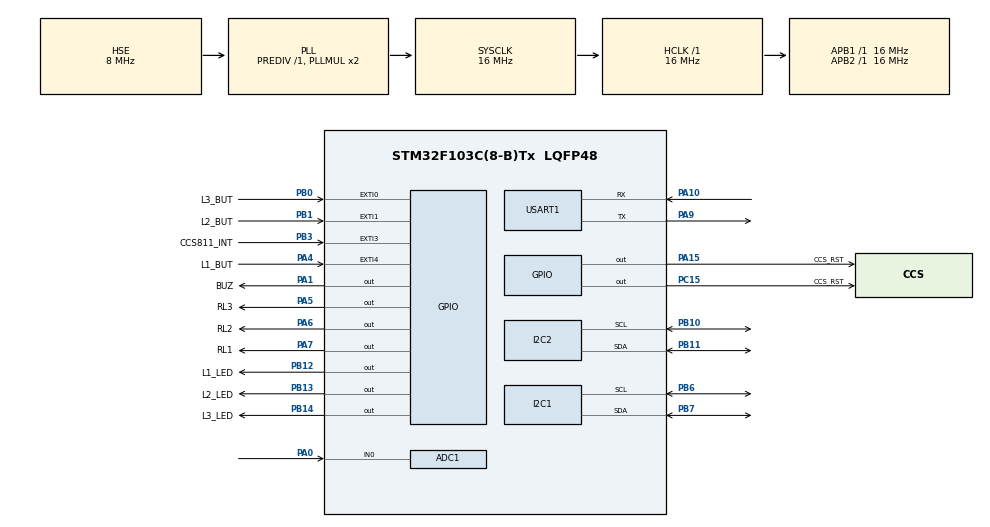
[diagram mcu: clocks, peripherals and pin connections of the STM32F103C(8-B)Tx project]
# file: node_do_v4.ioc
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ADC1.Channel-0\#ChannelRegularConversion=ADC_CHANNEL_0
ADC1.NbrOfConversionFlag=1
ADC1.Rank-0\#ChannelRegularConversion=1
ADC1.SamplingTime-0\#ChannelRegularConversion=ADC_SAMPLETIME_239CYCLES_5
ADC1.master=1
Mcu.Family=STM32F1
Mcu.Name=STM32F103C(8-B)Tx
Mcu.Package=LQFP48
NVIC.ADC1_2_IRQn=true\:5\:0\:true\:false\:true\:true\:true\:true
NVIC.EXTI0_IRQn=true\:2\:0\:true\:false\:true\:true\:true\:true
NVIC.EXTI1_IRQn=true\:2\:0\:true\:false\:true\:true\:true\:true
NVIC.EXTI3_IRQn=true\:3\:0\:true\:false\:true\:true\:true\:true
NVIC.EXTI4_IRQn=true\:2\:0\:true\:false\:true\:true\:true\:true
NVIC.PriorityGroup=NVIC_PRIORITYGROUP_4
NVIC.TIM2_IRQn=true\:4\:0\:true\:false\:true\:true\:true\:true
NVIC.TIM3_IRQn=true\:6\:0\:true\:false\:true\:true\:true\:true
NVIC.USART1_IRQn=true\:0\:0\:true\:false\:true\:true\:true\:true
PA0-WKUP.Signal=ADCx_IN0
PA1.GPIO_Label=BUZ
PA1.PinState=GPIO_PIN_RESET
PA1.Signal=GPIO_Output
PA10.Mode=Asynchronous
PA10.Signal=USART1_RX
PA13.Mode=Serial_Wire
PA13.Signal=SYS_JTMS-SWDIO
PA14.Mode=Serial_Wire
PA14.Signal=SYS_JTCK-SWCLK
PA15.GPIO_Label=CCS_RST
PA15.GPIO_PuPd=GPIO_PULLUP
PA15.PinState=GPIO_PIN_SET
PA15.Signal=GPIO_Output
PA4.GPIO_Label=L1_BUT
PA4.GPIO_ModeDefaultEXTI=GPIO_MODE_IT_FALLING
PA4.GPIO_PuPd=GPIO_PULLUP
PA4.Signal=GPXTI4
PA5.GPIO_Label=RL3
PA5.Signal=GPIO_Output
PA6.GPIO_Label=RL2
PA6.Signal=GPIO_Output
PA7.GPIO_Label=RL1
PA7.Signal=GPIO_Output
PA9.Mode=Asynchronous
PA9.Signal=USART1_TX
PB0.GPIO_Label=L3_BUT
PB0.GPIO_ModeDefaultEXTI=GPIO_MODE_IT_FALLING
PB0.GPIO_PuPd=GPIO_PULLUP
PB0.Signal=GPXTI0
PB1.GPIO_Label=L2_BUT
PB1.GPIO_ModeDefaultEXTI=GPIO_MODE_IT_FALLING
PB1.GPIO_PuPd=GPIO_PULLUP
PB1.Signal=GPXTI1
PB10.Mode=I2C
PB10.Signal=I2C2_SCL
PB11.Mode=I2C
PB11.Signal=I2C2_SDA
PB12.GPIO_Label=L1_LED
PB12.GPIO_PuPd=GPIO_PULLUP
PB12.PinState=GPIO_PIN_SET
PB12.Signal=GPIO_Output
PB13.GPIO_Label=L2_LED
PB13.GPIO_PuPd=GPIO_PULLUP
PB13.PinState=GPIO_PIN_SET
PB13.Signal=GPIO_Output
PB14.GPIO_Label=L3_LED
PB14.GPIO_PuPd=GPIO_PULLUP
PB14.PinState=GPIO_PIN_SET
PB14.Signal=GPIO_Output
PB3.GPIO_Label=CCS811_INT
PB3.GPIO_ModeDefaultEXTI=GPIO_MODE_IT_FALLING
PB3.GPIO_PuPd=GPIO_NOPULL
PB3.Signal=GPXTI3
PB6.Mode=I2C
PB6.Signal=I2C1_SCL
PB7.Mode=I2C
PB7.Signal=I2C1_SDA
PC15-OSC32_OUT.GPIO_Label=CCS_RST
PC15-OSC32_OUT.PinState=GPIO_PIN_SET
PC15-OSC32_OUT.Signal=GPIO_Output
PD0-OSC_IN.Mode=HSE-External-Oscillator
PD0-OSC_IN.Signal=RCC_OSC_IN
PD1-OSC_OUT.Mode=HSE-External-Oscillator
PD1-OSC_OUT.Signal=RCC_OSC_OUT
ProjectManager.HeapSize=0x200
ProjectManager.StackSize=0x400
ProjectManager.TargetToolchain=STM32CubeIDE
RCC.AHBFreq_Value=16000000
RCC.APB1Freq_Value=16000000
RCC.APB1TimFreq_Value=16000000
RCC.APB2Freq_Value=16000000
RCC.APB2TimFreq_Value=16000000
RCC.HCLKFreq_Value=16000000
RCC.PLLSourceVirtual=RCC_PLLSOURCE_HSE
RCC.RTCClockSelection=RCC_RTCCLKSOURCE_HSE_DIV128
RCC.SYSCLKFreq_VALUE=16000000
RCC.SYSCLKSource=RCC_SYSCLKSOURCE_PLLCLK
RCC.USBFreq_Value=16000000
RTC.Hours=12
RTC.Minutes=50
SH.ADCx_IN0.0=ADC1_IN0,IN0
TIM2.Period=6000
TIM2.Prescaler=16000-1
TIM3.Period=60000
TIM3.Prescaler=16000-1
USART1.VirtualMode=VM_ASYNC
VP_RTC_VS_RTC_Activate.Mode=RTC_Enabled
VP_RTC_VS_RTC_Calendar.Mode=RTC_Calendar
VP_TIM2_VS_ClockSourceINT.Mode=Internal
VP_TIM3_VS_ClockSourceINT.Mode=Internal
board=custom

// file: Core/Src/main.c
/* USER CODE BEGIN Header */
/**
  ******************************************************************************
  * @file           : main.c
  * @brief          : Main program body
  ******************************************************************************
  * @attention
  *
  * Copyright (c) 2024 STMicroelectronics.
  * All rights reserved.
  *
  * This software is licensed under terms that can be found in the LICENSE file
  * in the root directory of this software component.
  * If no LICENSE file comes with this software, it is provided AS-IS.
  *
  ******************************************************************************
  */
/* USER CODE END Header */
#include "main.h"

/* USER CODE BEGIN Includes */
#include "math.h"
#include "i2c-lcd.h"
#include "warning.h"
#include <stdio.h>
#include "ccs811.h"
#include <stdlib.h>
#include <string.h>
#include "rs_related_node_do.h"
/* USER CODE END Includes */

/* USER CODE BEGIN PM */
#define T3 6000
#define T2 3000
#define T1 1000
/* USER CODE END PM */

ADC_HandleTypeDef hadc1;

I2C_HandleTypeDef hi2c1;
I2C_HandleTypeDef hi2c2;

RTC_HandleTypeDef hrtc;

TIM_HandleTypeDef htim2;
TIM_HandleTypeDef htim3;

UART_HandleTypeDef huart1;

void SystemClock_Config(void);
static void MX_GPIO_Init(void);
static void MX_ADC1_Init(void);
static void MX_I2C1_Init(void);
static void MX_I2C2_Init(void);
static void MX_TIM2_Init(void);
static void MX_USART1_UART_Init(void);
static void MX_RTC_Init(void);
static void MX_TIM3_Init(void);

/* USER CODE BEGIN 0 */
uint8_t RS_rxBuffer[20];
uint8_t RS_rx[20];
uint8_t RS_txBuffer[30];
uint8_t rs_temp[2];
uint8_t rs_inx=0;

uint8_t ppm_data[20];
uint8_t myID = 0x01;  // �?ịa chỉ Slave (duy nhất)
//uint8_t myID = 0x02;  // �?ịa chỉ Slave (duy nhất)

uint8_t l1_state=0;
uint8_t l2_state=0;
uint8_t l3_state=0;
uint8_t at_state=1;
uint8_t co2_flag=0;
uint16_t eCO2 = 0;
uint16_t CO2_ppm;
uint32_t CO_adc_val;

float CO_vol;
uint16_t CO_ppm;
char CO_ppm_buf[6];
char CO2_ppm_buf[6];

uint8_t miss_inx=0;
uint8_t send_inx=0;

uint8_t connect_error_flag=0;
uint8_t connect_miss_flag=0;
uint8_t save_ok = 0;
char string_data[100][20];
char data_saved[100][30]; // Mảng con tr�? để lưu chuỗi
uint8_t lrc;

RTC_TimeTypeDef gTime;

void set_time (uint8_t hr, uint8_t min, uint8_t sec)
{
	RTC_TimeTypeDef sTime = {0};

	sTime.Hours = hr;
	sTime.Minutes = min;
	sTime.Seconds = sec;
	if (HAL_RTC_SetTime(&hrtc, &sTime, RTC_FORMAT_BIN) != HAL_OK)
	{
		Error_Handler();
	}
	HAL_RTCEx_BKUPWrite(&hrtc, RTC_BKP_DR1, 0x2345);  // backup register
}

void get_time()
{
    HAL_RTC_GetTime(&hrtc, &gTime, RTC_FORMAT_BIN);
}

int CO_ppm_convert(float CO_vol) {
    float a = ((5.0 - CO_vol) / CO_vol) * (10/5);
    return (int)round(100 * pow(a, -1.559));
}

void Change_Timer_Period(TIM_HandleTypeDef *htim)
{
if (CO2_ppm <= 1000 && CO_ppm <= 25)
   {
       HAL_TIM_Base_Stop_IT(htim);                  // Dừng timer
       __HAL_TIM_SET_AUTORELOAD(htim, T3);          // Cập nhật chu kỳ
       HAL_TIM_Base_Start_IT(htim);                 // Khởi động lại timer
   }
   else if (CO2_ppm >= 2000 || CO_ppm >= 50)
   {
       HAL_TIM_Base_Stop_IT(htim);                  // Dừng timer
       __HAL_TIM_SET_AUTORELOAD(htim, T1);          // Cập nhật chu kỳ
       HAL_TIM_Base_Start_IT(htim);                 // Khởi động lại timer
   }
   else
   {
       HAL_TIM_Base_Stop_IT(htim);                  // Dừng timer
       __HAL_TIM_SET_AUTORELOAD(htim, T2);          // Cập nhật chu kỳ
       HAL_TIM_Base_Start_IT(htim);                 // Khởi động lại timer
   }
}
void HAL_TIM_PeriodElapsedCallback(TIM_HandleTypeDef *htim)
{
    if (htim->Instance == TIM2)  // Kiểm tra nếu ngắt từ Timer 2
    {
    	HAL_ADC_Start_IT(&hadc1);
    }
    else if (htim->Instance == TIM3)  // Kiểm tra nếu ngắt từ Timer 3
    {
    	Change_Timer_Period(&htim3);
    	connect_error_flag++;
    	save_ok=0;
   	 if(connect_error_flag>=2 && save_ok==0)
   	 {
   		miss_inx=connect_error_flag-2;
   		get_time();
   		hexdec_to_ascii(gTime.Hours,&data_saved[miss_inx][5]);
		hexdec_to_ascii(gTime.Minutes,&data_saved[miss_inx][7]);
		hexdec_to_ascii(gTime.Seconds,&data_saved[miss_inx][9]);
		hexdec_to_ascii((uint8_t)(CO_ppm>>8),&data_saved[miss_inx][11]);
		hexdec_to_ascii((uint8_t)(CO_ppm),&data_saved[miss_inx][13]);
		hexdec_to_ascii((uint8_t)(CO2_ppm>>8),&data_saved[miss_inx][15]);
		hexdec_to_ascii((uint8_t)(CO2_ppm),&data_saved[miss_inx][17]);
   		save_ok=1;
   	 }
    }
}

void HAL_ADC_ConvCpltCallback(ADC_HandleTypeDef* hadc)
{
	if(hadc -> Instance == ADC1)
    CO_adc_val = HAL_ADC_GetValue(&hadc1);
	CO_vol = ((float)CO_adc_val / 4095.0) * 5;
	CO_ppm = (uint16_t)(CO_ppm_convert(CO_vol));
	sprintf(CO_ppm_buf, "%d",(int) CO_ppm);
	// Xóa vị trí hiện tại trên LCD trước khi ghi chuỗi mới
	lcd_put_cur(1, 4);
	lcd_send_string("    ");  // Ghi đè 4f khoảng trắng tại vị trí đó

	lcd_put_cur(1, 4);
	lcd_send_string (CO_ppm_buf);
	if(CO_ppm > 9999)
	{
	   lcd_put_cur(1, 8);
	   lcd_send_string("        ");  // Ghi đè 8 khoảng trắng tại vị trí đó
	   lcd_put_cur(1, 8);
	   lcd_send_string ("ppm|AUTO");
	}
	// đo và hiển thị LCD cho CO2
	CCS811_Read_Co2(&eCO2);
    CO2_ppm = (eCO2);
	sprintf(CO2_ppm_buf, "%d",(int) CO2_ppm);
	// Xóa vị trí hiện tại trên LCD trước khi ghi chuỗi mới
	lcd_put_cur(0, 4);
	lcd_send_string("    ");  // Ghi đè 4 khoảng trắng tại vị trí đó
	// ghi vào vị trí này
	lcd_put_cur(0, 4);
	lcd_send_string (CO2_ppm_buf);

	if(CO2_ppm > 9999)
	{
	   lcd_put_cur(0, 8);
	   lcd_send_string("        ");
	   lcd_put_cur(0, 8);
	   lcd_send_string ("ppm|MODE");
	}
	if(at_state==1)
	{
		Auto_Warning();
	}
	Change_Timer_Period(&htim2);
}
void HAL_GPIO_EXTI_Callback(uint16_t GPIO_Pin) {
	UNUSED(GPIO_Pin);
     if (GPIO_Pin == L1_BUT_Pin)
    {
        while(HAL_GPIO_ReadPin(L1_BUT_GPIO_Port,L1_BUT_Pin)==0)
           {};
     l1_state = 1;
     l2_state = 0;
     l3_state = 0;
     at_state = 0;
	lcd_put_cur(1, 12);
	lcd_send_string ("HAND");
    }
    else if (GPIO_Pin == L2_BUT_Pin)
    {
      while(HAL_GPIO_ReadPin(L2_BUT_GPIO_Port,L2_BUT_Pin)==0)
        {};
     l1_state = 0;
     l2_state = 1;
     l3_state = 0;
     at_state = 0;
	lcd_put_cur(1, 12);
	lcd_send_string ("HAND");
    }

    else if (GPIO_Pin == L3_BUT_Pin)
    {
     while(HAL_GPIO_ReadPin(L3_BUT_GPIO_Port,L3_BUT_Pin)==0)
        {};
     l1_state = 0;
     l2_state = 0;
     l3_state = 1;
     at_state = 0;
	lcd_put_cur(1, 12);
	lcd_send_string ("HAND");
    }
}
void HAL_UART_RxCpltCallback(UART_HandleTypeDef *huart) {
    if (huart->Instance == USART1) {
    	// nhận chuỗi từ : đến \n
	if(rs_temp[0] != '\n')
	{
		if(rs_temp[0]==':')
		{
			RS_rxBuffer[0]=rs_temp[0];
			rs_inx=1;
		}
		else
		{
			RS_rxBuffer[rs_inx++]=rs_temp[0];
		}
	}
	else
	{
		RS_rxBuffer[rs_inx++]='\n';
    	if(check_lrc(&RS_rxBuffer[1],4,(char*)&RS_rxBuffer[5]) == 1) // check loi lrc
    	{
    		//if (RS_rxBuffer[1] == '0' && RS_rxBuffer[2] == '2') // Kiểm tra địa chỉ node 2
			if (RS_rxBuffer[1] == '0' && RS_rxBuffer[2] == '1') // Kiểm tra địa chỉ
			{
				if (RS_rxBuffer[3] == '0' && RS_rxBuffer[4] == '2')
				{
					get_time();
					// Gửi phản hồi
					RS485_data_to_send();
					HAL_UART_Transmit(&huart1, RS_txBuffer, 25, HAL_MAX_DELAY);
				}
				else if(RS_rxBuffer[3] == '0' && RS_rxBuffer[4] == '3')
				{
					 if( miss_inx!=0)
					 {
						 while(send_inx<miss_inx)
						 {
							RS_txBuffer[0] = ':';
							hexdec_to_ascii(myID,(char*)&RS_txBuffer[1]);
							RS_txBuffer[3] = '0';
							RS_txBuffer[4] = '3';
							strcpy((char*)&RS_txBuffer[5], &data_saved[send_inx][5]);
							lrc = calculate_lrc(&RS_txBuffer[1],18);
							hexdec_to_ascii(lrc,(char*)&RS_txBuffer[19]);
							RS_txBuffer[21]=0x0D ;
							RS_txBuffer[22]=0x0A ;
							 HAL_UART_Transmit(&huart1, RS_txBuffer, 25, HAL_MAX_DELAY);
							 HAL_UART_Receive(&huart1 ,RS_rx, 10, HAL_MAX_DELAY);
							 if( RS_rx[4] == 'B')
							 {
								 HAL_TIM_Base_Stop_IT(&htim3);
								 send_inx++;
							 }
						 }
						 if(send_inx==miss_inx)
						 {
							RS_txBuffer[0] = ':';
							hexdec_to_ascii(myID,(char*)&RS_txBuffer[1]);
							RS_txBuffer[3] = '0';
							RS_txBuffer[4] = '2';
							strcpy((char*)&RS_txBuffer[5], &data_saved[send_inx][5]);
							lrc = calculate_lrc(&RS_txBuffer[1],18);
							hexdec_to_ascii(lrc,(char*)&RS_txBuffer[19]);
							RS_txBuffer[21]=0x0D ;
							RS_txBuffer[22]=0x0A ;
							 HAL_UART_Transmit(&huart1, RS_txBuffer, 25, HAL_MAX_DELAY);
						 }
					 }
				}
				else if(RS_rxBuffer[3] == 'A' && RS_rxBuffer[4] == 'A') // nhận lại oke
				{
					memset(data_saved, 0, sizeof(data_saved));
					HAL_TIM_Base_Start_IT(&htim3);
					send_inx=0;
					connect_error_flag=0;
				}
			}
    	}
    	else
    	{}

        // nhận bản tin v�? th�?i gian
         if(RS_rxBuffer[2] == 0x77)
        {
        	int h,m,s;
        	char ho[3] = {0};
        	char mi[3] = {0};
        	char se[3] = {0};

        	strncpy(ho, (char*)&RS_rxBuffer[3], 2);
        	strncpy(mi, (char*)&RS_rxBuffer[5], 2);
        	strncpy(se, (char*)&RS_rxBuffer[7], 2);

        	h= atoi(ho);
        	m=atoi(mi);
        	s=atoi(se);
        	set_time((uint8_t)h,(uint8_t) m ,(uint8_t)s);
        }
 		rs_inx=0;
 		memset(RS_rxBuffer,0,sizeof(RS_rxBuffer));
 	  }
        // Tiếp tục nhận
        HAL_UART_Receive_IT(&huart1, rs_temp, 1);
    }
}

/* USER CODE END 0 */

int main(void)
{

  /* MCU Configuration--------------------------------------------------------*/

  /* Reset of all peripherals, Initializes the Flash interface and the Systick. */
  HAL_Init();

  /* Configure the system clock */
  SystemClock_Config();

  /* Initialize all configured peripherals */
  MX_GPIO_Init();
  MX_ADC1_Init();
  MX_I2C1_Init();
  MX_I2C2_Init();
  MX_TIM2_Init();
  MX_USART1_UART_Init();
  MX_RTC_Init();
  MX_TIM3_Init();
  /* USER CODE BEGIN 2 */

  //while(!CCS811_CheckHW_ID());
  CCS811_Init();
  CCS811_Reset();
  CCS811_Set_Mode(CCS811_MODE_1SEC);
  CCS811_EnableInt();
  //uint16_t baseline = CCS811_GetBaseline();
  lcd_init();
  lcd_put_cur(0, 0);
  lcd_send_string ("CO2:");
  lcd_put_cur(0, 8);
  lcd_send_string ("ppm|");
  lcd_put_cur(0, 12);
  lcd_send_string ("MODE");
  lcd_put_cur(1, 0);
  lcd_send_string("CO :");
  lcd_put_cur(1, 8);
  lcd_send_string ("ppm|");
  lcd_put_cur(1, 12);
  lcd_send_string ("AUTO");

  HAL_TIM_Base_Start_IT(&htim2);
  HAL_TIM_Base_Start_IT(&htim3);
  HAL_UART_Receive_IT(&huart1, rs_temp, 1);

  if (HAL_RTCEx_BKUPRead(&hrtc, RTC_BKP_DR1) != 0x2345)
  {
	  set_time(12, 50, 50);
  }
  /* USER CODE END 2 */

  /* Infinite loop */
  /* USER CODE BEGIN WHILE */
  while (1)
  {
		  // khi tắt chế độ tự động
	  if(at_state==0)
	 {
	  Manual_Warning();
	 }

    /* USER CODE END WHILE */

  }
}

void SystemClock_Config(void)
{
  RCC_OscInitTypeDef RCC_OscInitStruct = {0};
  RCC_ClkInitTypeDef RCC_ClkInitStruct = {0};
  RCC_PeriphCLKInitTypeDef PeriphClkInit = {0};

  /** Initializes the RCC Oscillators according to the specified parameters
  * in the RCC_OscInitTypeDef structure.
  */
  RCC_OscInitStruct.OscillatorType = RCC_OSCILLATORTYPE_HSE;
  RCC_OscInitStruct.HSEState = RCC_HSE_ON;
  RCC_OscInitStruct.HSEPredivValue = RCC_HSE_PREDIV_DIV1;
  RCC_OscInitStruct.HSIState = RCC_HSI_ON;
  RCC_OscInitStruct.PLL.PLLState = RCC_PLL_ON;
  RCC_OscInitStruct.PLL.PLLSource = RCC_PLLSOURCE_HSE;
  RCC_OscInitStruct.PLL.PLLMUL = RCC_PLL_MUL2;
  if (HAL_RCC_OscConfig(&RCC_OscInitStruct) != HAL_OK)
  {
    Error_Handler();
  }

  /** Initializes the CPU, AHB and APB buses clocks
  */
  RCC_ClkInitStruct.ClockType = RCC_CLOCKTYPE_HCLK|RCC_CLOCKTYPE_SYSCLK
                              |RCC_CLOCKTYPE_PCLK1|RCC_CLOCKTYPE_PCLK2;
  RCC_ClkInitStruct.SYSCLKSource = RCC_SYSCLKSOURCE_PLLCLK;
  RCC_ClkInitStruct.AHBCLKDivider = RCC_SYSCLK_DIV1;
  RCC_ClkInitStruct.APB1CLKDivider = RCC_HCLK_DIV1;
  RCC_ClkInitStruct.APB2CLKDivider = RCC_HCLK_DIV1;

  if (HAL_RCC_ClockConfig(&RCC_ClkInitStruct, FLASH_LATENCY_0) != HAL_OK)
  {
    Error_Handler();
  }
  PeriphClkInit.PeriphClockSelection = RCC_PERIPHCLK_RTC|RCC_PERIPHCLK_ADC;
  PeriphClkInit.RTCClockSelection = RCC_RTCCLKSOURCE_HSE_DIV128;
  PeriphClkInit.AdcClockSelection = RCC_ADCPCLK2_DIV2;
  if (HAL_RCCEx_PeriphCLKConfig(&PeriphClkInit) != HAL_OK)
  {
    Error_Handler();
  }
}

static void MX_ADC1_Init(void)
{

  ADC_ChannelConfTypeDef sConfig = {0};

  /** Common config
  */
  hadc1.Instance = ADC1;
  hadc1.Init.ScanConvMode = ADC_SCAN_DISABLE;
  hadc1.Init.ContinuousConvMode = DISABLE;
  hadc1.Init.DiscontinuousConvMode = DISABLE;
  hadc1.Init.ExternalTrigConv = ADC_SOFTWARE_START;
  hadc1.Init.DataAlign = ADC_DATAALIGN_RIGHT;
  hadc1.Init.NbrOfConversion = 1;
  if (HAL_ADC_Init(&hadc1) != HAL_OK)
  {
    Error_Handler();
  }

  /** Configure Regular Channel
  */
  sConfig.Channel = ADC_CHANNEL_0;
  sConfig.Rank = ADC_REGULAR_RANK_1;
  sConfig.SamplingTime = ADC_SAMPLETIME_239CYCLES_5;
  if (HAL_ADC_ConfigChannel(&hadc1, &sConfig) != HAL_OK)
  {
    Error_Handler();
  }

}

static void MX_I2C1_Init(void)
{

  hi2c1.Instance = I2C1;
  hi2c1.Init.ClockSpeed = 100000;
  hi2c1.Init.DutyCycle = I2C_DUTYCYCLE_2;
  hi2c1.Init.OwnAddress1 = 0;
  hi2c1.Init.AddressingMode = I2C_ADDRESSINGMODE_7BIT;
  hi2c1.Init.DualAddressMode = I2C_DUALADDRESS_DISABLE;
  hi2c1.Init.OwnAddress2 = 0;
  hi2c1.Init.GeneralCallMode = I2C_GENERALCALL_DISABLE;
  hi2c1.Init.NoStretchMode = I2C_NOSTRETCH_DISABLE;
  if (HAL_I2C_Init(&hi2c1) != HAL_OK)
  {
    Error_Handler();
  }

}

static void MX_I2C2_Init(void)
{

  hi2c2.Instance = I2C2;
  hi2c2.Init.ClockSpeed = 100000;
  hi2c2.Init.DutyCycle = I2C_DUTYCYCLE_2;
  hi2c2.Init.OwnAddress1 = 0;
  hi2c2.Init.AddressingMode = I2C_ADDRESSINGMODE_7BIT;
  hi2c2.Init.DualAddressMode = I2C_DUALADDRESS_DISABLE;
  hi2c2.Init.OwnAddress2 = 0;
  hi2c2.Init.GeneralCallMode = I2C_GENERALCALL_DISABLE;
  hi2c2.Init.NoStretchMode = I2C_NOSTRETCH_DISABLE;
  if (HAL_I2C_Init(&hi2c2) != HAL_OK)
  {
    Error_Handler();
  }

}

static void MX_RTC_Init(void)
{

  RTC_TimeTypeDef sTime = {0};
  RTC_DateTypeDef DateToUpdate = {0};

  /** Initialize RTC Only
  */
  hrtc.Instance = RTC;
  hrtc.Init.AsynchPrediv = RTC_AUTO_1_SECOND;
  hrtc.Init.OutPut = RTC_OUTPUTSOURCE_ALARM;
  if (HAL_RTC_Init(&hrtc) != HAL_OK)
  {
    Error_Handler();
  }

  /** Initialize RTC and set the Time and Date
  */
//  sTime.Hours = 0x12;
//  sTime.Minutes = 0x50;
//  sTime.Seconds = 0x0;
//
//  if (HAL_RTC_SetTime(&hrtc, &sTime, RTC_FORMAT_BCD) != HAL_OK)
//  {
//    Error_Handler();
//  }
//  DateToUpdate.WeekDay = RTC_WEEKDAY_MONDAY;
//  DateToUpdate.Month = RTC_MONTH_JANUARY;
//  DateToUpdate.Date = 0x1;
//  DateToUpdate.Year = 0x0;
//
//  if (HAL_RTC_SetDate(&hrtc, &DateToUpdate, RTC_FORMAT_BCD) != HAL_OK)
//  {
//    Error_Handler();
//  }

}

static void MX_TIM2_Init(void)
{

  TIM_ClockConfigTypeDef sClockSourceConfig = {0};
  TIM_MasterConfigTypeDef sMasterConfig = {0};

  htim2.Instance = TIM2;
  htim2.Init.Prescaler = 16000-1;
  htim2.Init.CounterMode = TIM_COUNTERMODE_UP;
  htim2.Init.Period = 6000;
  htim2.Init.ClockDivision = TIM_CLOCKDIVISION_DIV1;
  htim2.Init.AutoReloadPreload = TIM_AUTORELOAD_PRELOAD_DISABLE;
  if (HAL_TIM_Base_Init(&htim2) != HAL_OK)
  {
    Error_Handler();
  }
  sClockSourceConfig.ClockSource = TIM_CLOCKSOURCE_INTERNAL;
  if (HAL_TIM_ConfigClockSource(&htim2, &sClockSourceConfig) != HAL_OK)
  {
    Error_Handler();
  }
  sMasterConfig.MasterOutputTrigger = TIM_TRGO_RESET;
  sMasterConfig.MasterSlaveMode = TIM_MASTERSLAVEMODE_DISABLE;
  if (HAL_TIMEx_MasterConfigSynchronization(&htim2, &sMasterConfig) != HAL_OK)
  {
    Error_Handler();
  }

}

static void MX_TIM3_Init(void)
{

  TIM_ClockConfigTypeDef sClockSourceConfig = {0};
  TIM_MasterConfigTypeDef sMasterConfig = {0};

  htim3.Instance = TIM3;
  htim3.Init.Prescaler = 16000-1;
  htim3.Init.CounterMode = TIM_COUNTERMODE_UP;
  htim3.Init.Period = 60000;
  htim3.Init.ClockDivision = TIM_CLOCKDIVISION_DIV1;
  htim3.Init.AutoReloadPreload = TIM_AUTORELOAD_PRELOAD_DISABLE;
  if (HAL_TIM_Base_Init(&htim3) != HAL_OK)
  {
    Error_Handler();
  }
  sClockSourceConfig.ClockSource = TIM_CLOCKSOURCE_INTERNAL;
  if (HAL_TIM_ConfigClockSource(&htim3, &sClockSourceConfig) != HAL_OK)
  {
    Error_Handler();
  }
  sMasterConfig.MasterOutputTrigger = TIM_TRGO_RESET;
  sMasterConfig.MasterSlaveMode = TIM_MASTERSLAVEMODE_DISABLE;
  if (HAL_TIMEx_MasterConfigSynchronization(&htim3, &sMasterConfig) != HAL_OK)
  {
    Error_Handler();
  }

}

static void MX_USART1_UART_Init(void)
{

  huart1.Instance = USART1;
  huart1.Init.BaudRate = 115200;
  huart1.Init.WordLength = UART_WORDLENGTH_8B;
  huart1.Init.StopBits = UART_STOPBITS_1;
  huart1.Init.Parity = UART_PARITY_NONE;
  huart1.Init.Mode = UART_MODE_TX_RX;
  huart1.Init.HwFlowCtl = UART_HWCONTROL_NONE;
  huart1.Init.OverSampling = UART_OVERSAMPLING_16;
  if (HAL_UART_Init(&huart1) != HAL_OK)
  {
    Error_Handler();
  }

}

static void MX_GPIO_Init(void)
{
  GPIO_InitTypeDef GPIO_InitStruct = {0};

  /* GPIO Ports Clock Enable */
  __HAL_RCC_GPIOC_CLK_ENABLE();
  __HAL_RCC_GPIOD_CLK_ENABLE();
  __HAL_RCC_GPIOA_CLK_ENABLE();
  __HAL_RCC_GPIOB_CLK_ENABLE();

  /*Configure GPIO pin Output Level */
  HAL_GPIO_WritePin(CCS_RST_GPIO_Port, CCS_RST_Pin, GPIO_PIN_SET);

  /*Configure GPIO pin Output Level */
  HAL_GPIO_WritePin(GPIOA, BUZ_Pin|RL3_Pin|RL2_Pin|RL1_Pin, GPIO_PIN_RESET);

  /*Configure GPIO pin Output Level */
  HAL_GPIO_WritePin(GPIOB, L1_LED_Pin|L2_LED_Pin|L3_LED_Pin, GPIO_PIN_SET);

  /*Configure GPIO pin Output Level */
  HAL_GPIO_WritePin(CCS_RSTA15_GPIO_Port, CCS_RSTA15_Pin, GPIO_PIN_SET);

  /*Configure GPIO pin : CCS_RST_Pin */
  GPIO_InitStruct.Pin = CCS_RST_Pin;
  GPIO_InitStruct.Mode = GPIO_MODE_OUTPUT_PP;
  GPIO_InitStruct.Pull = GPIO_NOPULL;
  GPIO_InitStruct.Speed = GPIO_SPEED_FREQ_LOW;
  HAL_GPIO_Init(CCS_RST_GPIO_Port, &GPIO_InitStruct);

  /*Configure GPIO pins : BUZ_Pin RL3_Pin RL2_Pin RL1_Pin */
  GPIO_InitStruct.Pin = BUZ_Pin|RL3_Pin|RL2_Pin|RL1_Pin;
  GPIO_InitStruct.Mode = GPIO_MODE_OUTPUT_PP;
  GPIO_InitStruct.Pull = GPIO_NOPULL;
  GPIO_InitStruct.Speed = GPIO_SPEED_FREQ_LOW;
  HAL_GPIO_Init(GPIOA, &GPIO_InitStruct);

  /*Configure GPIO pin : L1_BUT_Pin */
  GPIO_InitStruct.Pin = L1_BUT_Pin;
  GPIO_InitStruct.Mode = GPIO_MODE_IT_FALLING;
  GPIO_InitStruct.Pull = GPIO_PULLUP;
  HAL_GPIO_Init(L1_BUT_GPIO_Port, &GPIO_InitStruct);

  /*Configure GPIO pins : L3_BUT_Pin L2_BUT_Pin */
  GPIO_InitStruct.Pin = L3_BUT_Pin|L2_BUT_Pin;
  GPIO_InitStruct.Mode = GPIO_MODE_IT_FALLING;
  GPIO_InitStruct.Pull = GPIO_PULLUP;
  HAL_GPIO_Init(GPIOB, &GPIO_InitStruct);

  /*Configure GPIO pins : L1_LED_Pin L2_LED_Pin L3_LED_Pin */
  GPIO_InitStruct.Pin = L1_LED_Pin|L2_LED_Pin|L3_LED_Pin;
  GPIO_InitStruct.Mode = GPIO_MODE_OUTPUT_PP;
  GPIO_InitStruct.Pull = GPIO_PULLUP;
  GPIO_InitStruct.Speed = GPIO_SPEED_FREQ_LOW;
  HAL_GPIO_Init(GPIOB, &GPIO_InitStruct);

  /*Configure GPIO pin : CCS_RSTA15_Pin */
  GPIO_InitStruct.Pin = CCS_RSTA15_Pin;
  GPIO_InitStruct.Mode = GPIO_MODE_OUTPUT_PP;
  GPIO_InitStruct.Pull = GPIO_PULLUP;
  GPIO_InitStruct.Speed = GPIO_SPEED_FREQ_LOW;
  HAL_GPIO_Init(CCS_RSTA15_GPIO_Port, &GPIO_InitStruct);

  /*Configure GPIO pin : CCS811_INT_Pin */
  GPIO_InitStruct.Pin = CCS811_INT_Pin;
  GPIO_InitStruct.Mode = GPIO_MODE_IT_FALLING;
  GPIO_InitStruct.Pull = GPIO_NOPULL;
  HAL_GPIO_Init(CCS811_INT_GPIO_Port, &GPIO_InitStruct);

  /* EXTI interrupt init*/
  HAL_NVIC_SetPriority(EXTI0_IRQn, 2, 0);
  HAL_NVIC_EnableIRQ(EXTI0_IRQn);

  HAL_NVIC_SetPriority(EXTI1_IRQn, 2, 0);
  HAL_NVIC_EnableIRQ(EXTI1_IRQn);

  HAL_NVIC_SetPriority(EXTI3_IRQn, 3, 0);
  HAL_NVIC_EnableIRQ(EXTI3_IRQn);

  HAL_NVIC_SetPriority(EXTI4_IRQn, 2, 0);
  HAL_NVIC_EnableIRQ(EXTI4_IRQn);

}

void Error_Handler(void)
{
  __disable_irq();
  while (1)
  {
  }
}
